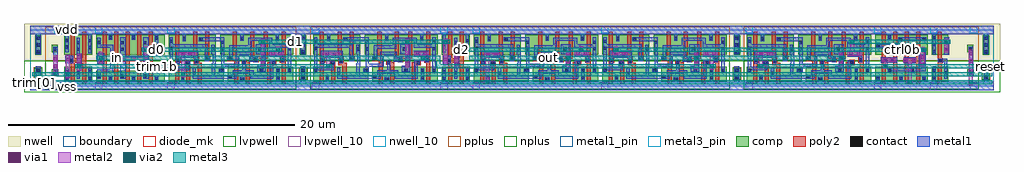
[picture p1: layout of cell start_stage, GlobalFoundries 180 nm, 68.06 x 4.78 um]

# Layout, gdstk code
from math import pi, radians
import gdstk
lib = gdstk.Library(unit=1e-6, precision=1e-09)
def R(c, l, rs):  # rectangles x0, y0, x1, y1
    for r in rs: c.add(gdstk.rectangle(r[:2], r[2:], *l))
def A(c, l, x, y, w, h, nx, ny, dx, dy):  # array of equal rectangles
    R(c, l, [(x+i*dx, y+j*dy, x+i*dx+w, y+j*dy+h) for i in range(nx) for j in range(ny)])
boundary = (0, 0)
nwell = (21, 0)
nwell_10 = (21, 10)
comp = (22, 0)
poly2 = (30, 0)
pplus = (31, 0)
nplus = (32, 0)
contact = (33, 0)
metal1 = (34, 0)
metal1_pin = (34, 10)
via1 = (35, 0)
metal2 = (36, 0)
via2 = (38, 0)
metal3 = (42, 0)
metal3_pin = (42, 10)
diode_mk = (115, 5)
lvpwell = (204, 0)
lvpwell_10 = (204, 10)

gf180mcu_as_sc_mcu7t3v3_ = lib.new_cell('gf180mcu_as_sc_mcu7t3v3__clkbuff_4')
R(gf180mcu_as_sc_mcu7t3v3_, boundary, [(0,0,5.04,3.92)])
R(gf180mcu_as_sc_mcu7t3v3_, nwell, [(-0.43,1.77,5.47,4.35)])
R(gf180mcu_as_sc_mcu7t3v3_, nwell_10, [(0.05,3.67,0.55,4.17)])
R(gf180mcu_as_sc_mcu7t3v3_, comp, [(0.14,0.34,4.9,1.06), (0.14,2.2,4.9,3.58)])
A(gf180mcu_as_sc_mcu7t3v3_, poly2, 2.18, 2.005, 0.28, 1.795, 3, 1, 0.8, 0)
R(gf180mcu_as_sc_mcu7t3v3_, poly2, [(0.58,0.12,0.86,1.57), (1.38,0.12,1.66,1.575), (2.18,0.12,2.46,1.69), (2.98,0.12,3.26,1.735), (3.78,0.12,4.06,1.735), (0.37,1.57,0.86,2.025), (1.1,1.575,1.66,1.69), (1.1,1.69,2.46,1.735), (1.1,1.735,4.06,1.97), (1.1,1.97,1.66,2.03), (2.18,1.97,4.06,2.005), (0.58,2.025,0.86,3.8), (1.38,2.03,1.66,3.8)])
R(gf180mcu_as_sc_mcu7t3v3_, pplus, [(-0.08,1.77,5.12,4.15), (0.35,1.97,4.29,2.04), (-0.02,2.04,5.06,3.74), (0.35,3.74,4.29,3.81)])
R(gf180mcu_as_sc_mcu7t3v3_, nplus, [(-0.08,-0.23,5.12,1.77), (-0.08,-0.23,5.12,1.77)])
A(gf180mcu_as_sc_mcu7t3v3_, contact, 1.01, 0.41, 0.22, 0.22, 3, 1, 1.6, 0)
A(gf180mcu_as_sc_mcu7t3v3_, contact, 0.21, 0.59, 0.22, 0.22, 3, 1, 1.6, 0)
A(gf180mcu_as_sc_mcu7t3v3_, contact, 4.21, 2.31, 0.22, 0.22, 1, 3, 0, 0.47)
R(gf180mcu_as_sc_mcu7t3v3_, contact, [(0.45,1.685,0.67,1.905), (1.17,1.7,1.39,1.92), (1.81,2.455,2.03,2.675), (3.41,2.455,3.63,2.675), (1.81,2.925,2.03,3.145), (3.41,2.925,3.63,3.145), (0.21,2.96,0.43,3.18), (1.01,3.29,1.23,3.51), (2.61,3.29,2.83,3.51)])
R(gf180mcu_as_sc_mcu7t3v3_, metal1, [(0,-0.3,5.04,0.3), (1.005,0.3,1.235,0.69), (2.605,0.3,2.835,0.69), (4.205,0.3,4.435,0.73), (0.205,0.53,0.435,0.945), (1.805,0.53,2.2,1.755), (3.405,0.53,3.8,1.755), (0.205,0.945,1.33,1.175), (1.1,1.175,1.33,1.575), (0.205,1.57,0.675,2.285), (1.1,1.575,1.395,2.03), (1.805,1.755,3.8,2.04), (1.1,2.03,1.33,2.665), (1.805,2.04,2.2,3.39), (3.405,2.04,3.8,3.39), (4.205,2.14,4.435,3.62), (0.205,2.665,1.33,2.895), (0.205,2.895,0.435,3.38), (1.005,3.23,1.235,3.62), (2.605,3.23,2.835,3.62), (0,3.62,5.04,4.22)])
R(gf180mcu_as_sc_mcu7t3v3_, metal1_pin, [(0,-0.3,5.04,0.3), (1.805,0.53,2.2,3.39), (3.405,0.53,3.8,3.39), (0.205,1.57,0.675,2.285), (0,3.62,5.04,4.22)])
R(gf180mcu_as_sc_mcu7t3v3_, lvpwell, [(-0.43,-0.43,5.47,1.77)])
R(gf180mcu_as_sc_mcu7t3v3_, lvpwell_10, [(0.05,-0.25,0.55,0.25)])
gf180mcu_as_sc_mcu7t3v3_.add(gdstk.Label('VDD', (2.52,3.92), layer=34, texttype=10))
gf180mcu_as_sc_mcu7t3v3_.add(gdstk.Label('VNW', (0.3,3.92), layer=21, texttype=10))
gf180mcu_as_sc_mcu7t3v3_.add(gdstk.Label('VPW', (0.3,0), layer=204, texttype=10))
gf180mcu_as_sc_mcu7t3v3_.add(gdstk.Label('VSS', (2.52,0), layer=34, texttype=10))
gf180mcu_as_sc_mcu7t3v3_.add(gdstk.Label('A', (0.44,1.927), layer=34, texttype=10))
gf180mcu_as_sc_mcu7t3v3_.add(gdstk.Label('Y', (2.002,1.96), layer=34, texttype=10))
gf180mcu_as_sc_mcu7t3v3_.add(gdstk.Label('Y', (3.602,1.96), layer=34, texttype=10))

c_gf180mcu_as_sc_mcu7t3v3_ = lib.new_cell('gf180mcu_as_sc_mcu7t3v3__invz_2')
R(c_gf180mcu_as_sc_mcu7t3v3_, boundary, [(0,0,8.96,3.92)])
R(c_gf180mcu_as_sc_mcu7t3v3_, nwell, [(-0.43,1.77,9.39,4.35)])
R(c_gf180mcu_as_sc_mcu7t3v3_, nwell_10, [(0.05,3.67,0.55,4.17)])
R(c_gf180mcu_as_sc_mcu7t3v3_, comp, [(0.14,0.34,3.98,1.34), (4.26,0.34,8.82,1.34), (0.14,2.2,3.42,3.58), (3.725,2.2,8.82,3.58)])
R(c_gf180mcu_as_sc_mcu7t3v3_, poly2, [(0.58,0.12,0.86,1.62), (1.38,0.12,1.66,1.45), (2.18,0.12,2.46,1.44), (4.7,0.12,4.98,1.74), (5.52,0.12,5.8,1.495), (7.02,0.12,7.3,1.47), (8.02,0.12,8.3,1.64), (1.9,1.44,2.46,1.62), (1.28,1.45,1.66,1.655), (7.02,1.47,7.645,1.675), (5.22,1.495,5.8,1.675), (0.58,1.62,0.965,1.98), (1.9,1.62,2.26,1.92), (7.895,1.64,8.3,2), (6.04,1.65,6.405,1.92), (1.28,1.655,1.64,1.81), (5.22,1.675,5.585,1.855), (7.28,1.675,7.645,1.83), (2.67,1.74,3.03,2.1), (4.24,1.74,4.98,2.1), (1.86,1.92,2.26,2.1), (5.82,1.92,7.05,2.1), (0.58,1.98,0.86,3.8), (8.02,2,8.3,3.8), (1.86,2.1,2.14,3.8), (2.7,2.1,2.98,3.8), (4.62,2.1,4.9,3.8), (5.82,2.1,6.1,3.8), (6.77,2.1,7.05,3.8)])
R(c_gf180mcu_as_sc_mcu7t3v3_, pplus, [(-0.08,1.77,9.04,4.15), (0.35,1.97,1.09,2.04), (1.63,1.97,3.21,2.04), (4.39,1.97,5.13,2.04), (5.59,1.97,7.28,2.04), (7.79,1.97,8.53,2.04), (-0.02,2.04,8.98,3.74), (0.35,3.74,1.09,3.81), (1.63,3.74,3.21,3.81), (4.39,3.74,5.13,3.81), (5.59,3.74,7.28,3.81), (7.79,3.74,8.53,3.81)])
R(c_gf180mcu_as_sc_mcu7t3v3_, nplus, [(-0.08,-0.23,9.04,1.77), (-0.08,-0.23,9.04,1.77)])
R(c_gf180mcu_as_sc_mcu7t3v3_, contact, [(5.15,0.41,5.37,0.63), (1.01,0.47,1.23,0.69), (7.65,0.485,7.87,0.705), (4.33,0.535,4.55,0.755), (1.81,0.795,2.03,1.015), (7.65,0.955,7.87,1.175), (3.69,1,3.91,1.22), (6.5,1,6.72,1.22), (0.21,1.005,0.43,1.225), (8.45,1.005,8.67,1.225), (1.35,1.52,1.57,1.74), (7.35,1.54,7.57,1.76), (5.29,1.565,5.51,1.785), (1.97,1.66,2.19,1.88), (0.675,1.69,0.895,1.91), (7.965,1.71,8.185,1.93), (6.11,1.72,6.33,1.94), (2.74,1.81,2.96,2.03), (4.31,1.81,4.53,2.03), (3.13,2.475,3.35,2.695), (3.795,2.475,4.015,2.695), (6.39,2.475,6.61,2.695), (8.45,2.49,8.67,2.71), (0.21,2.54,0.43,2.76), (3.795,2.945,4.015,3.165), (8.45,2.96,8.67,3.18), (0.21,3.01,0.43,3.23), (2.29,3.15,2.51,3.37), (1.11,3.205,1.33,3.425), (5.15,3.22,5.37,3.44), (7.6,3.22,7.82,3.44)])
R(c_gf180mcu_as_sc_mcu7t3v3_, metal1, [(0,-0.3,8.96,0.3), (1.005,0.3,1.235,0.75), (5.09,0.3,5.43,0.635), (7.645,0.3,7.875,1.25), (1.805,0.53,4.855,0.76), (5.83,0.53,7.415,0.76), (1.805,0.76,2.035,1.29), (3.155,0.76,3.385,1.36), (4.615,0.76,4.855,0.865), (5.83,0.76,6.06,0.865), (7.185,0.76,7.415,1.48), (4.615,0.865,6.06,1.105), (0.205,0.945,0.435,1.1), (8.445,0.945,8.675,2.685), (3.62,0.99,4.02,1.235), (6.305,0.99,6.905,1.43), (0.205,1.1,1.575,1.335), (5.285,1.105,5.515,1.845), (3.79,1.235,4.02,1.335), (0.205,1.335,0.435,2.685), (1.29,1.335,1.575,1.515), (3.79,1.335,5.055,1.565), (3.155,1.36,3.425,1.59), (6.565,1.43,6.905,2.23), (7.185,1.48,7.575,1.82), (1.29,1.515,1.63,1.745), (3.79,1.565,4.02,3.145), (4.825,1.565,5.055,2.15), (0.67,1.57,0.9,1.975), (3.195,1.59,3.425,2.265), (1.965,1.6,2.195,1.975), (7.96,1.65,8.19,2.05), (6.105,1.66,6.335,1.71), (5.745,1.71,6.335,2), (2.65,1.75,2.965,2.09), (4.25,1.805,4.59,2.035), (0.67,1.975,2.195,2.45), (5.745,2,5.975,2.15), (4.36,2.035,4.59,2.61), (7.135,2.05,8.19,2.45), (2.65,2.09,2.88,2.685), (4.825,2.15,5.975,2.38), (6.205,2.23,6.905,2.91), (3.125,2.265,3.425,2.51), (3.125,2.51,3.355,2.9), (4.36,2.61,5.915,2.84), (0.205,2.685,2.88,2.915), (7.135,2.685,8.675,2.915), (5.685,2.84,5.915,3.15), (0.205,2.915,0.435,3.39), (7.135,2.915,7.365,3.15), (8.445,2.915,8.675,3.39), (1.105,3.145,1.335,3.62), (2.23,3.145,4.02,3.39), (5.685,3.15,7.365,3.38), (5.145,3.16,5.375,3.62), (7.595,3.16,7.825,3.62), (0,3.62,8.96,4.22)])
R(c_gf180mcu_as_sc_mcu7t3v3_, metal1_pin, [(0,-0.3,8.96,0.3), (6.565,0.99,6.905,2.91), (0.67,1.975,2.195,2.45), (7.135,2.05,8.19,2.45), (0,3.62,8.96,4.22)])
R(c_gf180mcu_as_sc_mcu7t3v3_, lvpwell, [(-0.43,-0.43,9.39,1.77)])
R(c_gf180mcu_as_sc_mcu7t3v3_, lvpwell_10, [(0.05,-0.25,0.55,0.25)])
c_gf180mcu_as_sc_mcu7t3v3_.add(gdstk.Label('VDD', (4.48,3.92), layer=34, texttype=10))
c_gf180mcu_as_sc_mcu7t3v3_.add(gdstk.Label('VNW', (0.3,3.92), layer=21, texttype=10))
c_gf180mcu_as_sc_mcu7t3v3_.add(gdstk.Label('VPW', (0.3,0), layer=204, texttype=10))
c_gf180mcu_as_sc_mcu7t3v3_.add(gdstk.Label('VSS', (4.48,0), layer=34, texttype=10))
c_gf180mcu_as_sc_mcu7t3v3_.add(gdstk.Label('EN', (1.432,2.212), layer=34, texttype=10))
c_gf180mcu_as_sc_mcu7t3v3_.add(gdstk.Label('A', (7.662,2.25), layer=34, texttype=10))
c_gf180mcu_as_sc_mcu7t3v3_.add(gdstk.Label('Y', (6.735,1.95), layer=34, texttype=10))

c_gf180mcu_as_sc_mcu7t3v3__ = lib.new_cell('gf180mcu_as_sc_mcu7t3v3__diode_2')
R(c_gf180mcu_as_sc_mcu7t3v3__, boundary, [(0,0,1.12,3.92)])
R(c_gf180mcu_as_sc_mcu7t3v3__, nwell, [(-0.43,1.77,1.55,4.35)])
R(c_gf180mcu_as_sc_mcu7t3v3__, nwell_10, [(0.05,3.67,0.55,4.17)])
R(c_gf180mcu_as_sc_mcu7t3v3__, comp, [(0.28,0.685,0.72,1.16), (0.3,2.36,0.725,2.9)])
R(c_gf180mcu_as_sc_mcu7t3v3__, pplus, [(-0.08,1.77,1.2,4.15), (0.14,2.2,0.885,3.06)])
R(c_gf180mcu_as_sc_mcu7t3v3__, nplus, [(-0.08,-0.23,1.2,1.77), (-0.08,-0.23,1.2,1.77)])
R(c_gf180mcu_as_sc_mcu7t3v3__, contact, [(0.405,0.87,0.625,1.09), (0.405,2.455,0.625,2.675)])
R(c_gf180mcu_as_sc_mcu7t3v3__, metal1, [(0,-0.3,1.12,0.3), (0.33,0.805,0.63,2.75), (0,3.62,1.12,4.22)])
R(c_gf180mcu_as_sc_mcu7t3v3__, metal1_pin, [(0,-0.3,1.12,0.3), (0.33,0.805,0.63,2.75), (0,3.62,1.12,4.22)])
R(c_gf180mcu_as_sc_mcu7t3v3__, diode_mk, [(0.28,0.685,0.72,1.16), (0.3,2.36,0.725,2.9)])
R(c_gf180mcu_as_sc_mcu7t3v3__, lvpwell, [(-0.43,-0.43,1.55,1.77)])
R(c_gf180mcu_as_sc_mcu7t3v3__, lvpwell_10, [(0.05,-0.25,0.55,0.25)])
c_gf180mcu_as_sc_mcu7t3v3__.add(gdstk.Label('VDD', (0.56,3.92), layer=34, texttype=10))
c_gf180mcu_as_sc_mcu7t3v3__.add(gdstk.Label('VNW', (0.3,3.92), layer=21, texttype=10))
c_gf180mcu_as_sc_mcu7t3v3__.add(gdstk.Label('VPW', (0.3,0), layer=204, texttype=10))
c_gf180mcu_as_sc_mcu7t3v3__.add(gdstk.Label('VSS', (0.56,0), layer=34, texttype=10))
c_gf180mcu_as_sc_mcu7t3v3__.add(gdstk.Label('DIODE', (0.48,1.777), layer=34, texttype=10))

c_gf180mcu_as_sc_mcu7t3v3___ = lib.new_cell('gf180mcu_as_sc_mcu7t3v3__tap_2')
R(c_gf180mcu_as_sc_mcu7t3v3___, boundary, [(0,0,1.12,3.92)])
R(c_gf180mcu_as_sc_mcu7t3v3___, nwell, [(-0.43,1.77,1.55,4.35)])
R(c_gf180mcu_as_sc_mcu7t3v3___, comp, [(0.28,0.46,0.84,1.29), (0.36,2.22,0.76,3.52)])
R(c_gf180mcu_as_sc_mcu7t3v3___, pplus, [(0.335,0.43,0.755,0.44), (0.26,0.44,0.86,1.31), (0.335,1.31,0.755,1.32)])
R(c_gf180mcu_as_sc_mcu7t3v3___, nplus, [(0.335,2.19,0.755,2.2), (0.335,2.2,0.78,3.54), (0.335,3.54,0.755,3.55)])
A(c_gf180mcu_as_sc_mcu7t3v3___, contact, 0.435, 2.29, 0.22, 0.22, 1, 3, 0, 0.47)
R(c_gf180mcu_as_sc_mcu7t3v3___, contact, [(0.435,0.53,0.655,0.75), (0.435,1,0.655,1.22)])
R(c_gf180mcu_as_sc_mcu7t3v3___, metal1, [(0,-0.3,1.12,0.3), (0.375,0.3,0.715,1.38), (0.375,2.235,0.715,3.62), (0,3.62,1.12,4.22)])
R(c_gf180mcu_as_sc_mcu7t3v3___, metal1_pin, [(0,-0.3,1.12,0.3), (0,3.62,1.12,4.22)])
R(c_gf180mcu_as_sc_mcu7t3v3___, lvpwell, [(-0.43,-0.43,1.55,1.77)])
c_gf180mcu_as_sc_mcu7t3v3___.add(gdstk.Label('VDD', (0.56,3.92), layer=34, texttype=10))
c_gf180mcu_as_sc_mcu7t3v3___.add(gdstk.Label('VSS', (0.56,0), layer=34, texttype=10))

c_gf180mcu_as_sc_mcu7t3v3____ = lib.new_cell('gf180mcu_as_sc_mcu7t3v3__inv_2')
R(c_gf180mcu_as_sc_mcu7t3v3____, boundary, [(0,0,2.24,3.92)])
R(c_gf180mcu_as_sc_mcu7t3v3____, nwell, [(-0.43,1.77,2.67,4.35)])
R(c_gf180mcu_as_sc_mcu7t3v3____, nwell_10, [(0.05,3.67,0.55,4.17)])
R(c_gf180mcu_as_sc_mcu7t3v3____, comp, [(0.14,0.34,2.1,1.34), (0.14,2.2,2.1,3.58)])
R(c_gf180mcu_as_sc_mcu7t3v3____, poly2, [(0.58,0.12,0.86,1.625), (1.38,0.12,1.66,1.625), (0.48,1.625,1.66,1.935), (0.48,1.935,0.86,1.99), (1.38,1.935,1.66,3.8), (0.58,1.99,0.86,3.8)])
R(c_gf180mcu_as_sc_mcu7t3v3____, pplus, [(-0.08,1.77,2.32,4.15), (0.35,1.97,1.89,2.04), (-0.02,2.04,2.26,3.74), (0.35,3.74,1.89,3.81)])
R(c_gf180mcu_as_sc_mcu7t3v3____, nplus, [(-0.08,-0.23,2.32,1.77), (-0.08,-0.23,2.32,1.77)])
R(c_gf180mcu_as_sc_mcu7t3v3____, contact, [(0.21,0.415,0.43,0.635), (1.81,0.445,2.03,0.665), (1.01,0.82,1.23,1.04), (0.21,0.885,0.43,1.105), (1.81,0.915,2.03,1.135), (0.55,1.695,0.77,1.915), (1.01,2.45,1.23,2.67), (1.81,2.585,2.03,2.805), (0.21,2.615,0.43,2.835), (1.01,2.92,1.23,3.14), (1.81,3.055,2.03,3.275), (0.21,3.085,0.43,3.305)])
R(c_gf180mcu_as_sc_mcu7t3v3____, metal1, [(0,-0.3,2.24,0.3), (0.205,0.3,0.435,1.235), (1.805,0.3,2.035,1.235), (1.005,0.53,1.235,1.26), (1.005,1.26,1.35,2.255), (0.205,1.59,0.775,2.125), (1.005,2.255,1.235,3.385), (1.805,2.295,2.035,3.62), (0.205,2.355,0.435,3.62), (0,3.62,2.24,4.22)])
R(c_gf180mcu_as_sc_mcu7t3v3____, metal1_pin, [(0,-0.3,2.24,0.3), (1.005,1.26,1.35,2.255), (0.205,1.59,0.775,2.125), (0,3.62,2.24,4.22)])
R(c_gf180mcu_as_sc_mcu7t3v3____, lvpwell, [(-0.43,-0.43,2.67,1.77)])
R(c_gf180mcu_as_sc_mcu7t3v3____, lvpwell_10, [(0.05,-0.25,0.55,0.25)])
c_gf180mcu_as_sc_mcu7t3v3____.add(gdstk.Label('VDD', (1.12,3.92), layer=34, texttype=10))
c_gf180mcu_as_sc_mcu7t3v3____.add(gdstk.Label('VNW', (0.3,3.92), layer=21, texttype=10))
c_gf180mcu_as_sc_mcu7t3v3____.add(gdstk.Label('VPW', (0.3,0), layer=204, texttype=10))
c_gf180mcu_as_sc_mcu7t3v3____.add(gdstk.Label('VSS', (1.12,0), layer=34, texttype=10))
c_gf180mcu_as_sc_mcu7t3v3____.add(gdstk.Label('Y', (1.177,1.757), layer=34, texttype=10))
c_gf180mcu_as_sc_mcu7t3v3____.add(gdstk.Label('A', (0.49,1.857), layer=34, texttype=10))

c_gf180mcu_as_sc_mcu7t3v3_____ = lib.new_cell('gf180mcu_as_sc_mcu7t3v3__nor2_2')
R(c_gf180mcu_as_sc_mcu7t3v3_____, boundary, [(0,0,3.92,3.92)])
R(c_gf180mcu_as_sc_mcu7t3v3_____, nwell, [(-0.43,1.77,4.35,4.35)])
R(c_gf180mcu_as_sc_mcu7t3v3_____, nwell_10, [(0.05,3.67,0.55,4.17)])
R(c_gf180mcu_as_sc_mcu7t3v3_____, comp, [(0.14,0.34,3.775,1.34), (0.14,2.2,3.78,3.58)])
R(c_gf180mcu_as_sc_mcu7t3v3_____, poly2, [(0.58,0.12,0.86,1.615), (1.38,0.12,1.66,1.615), (2.18,0.12,2.46,1.61), (2.98,0.12,3.26,1.61), (2.13,1.61,3.26,2.015), (0.5,1.615,1.66,2.02), (2.18,2.015,2.46,3.8), (2.98,2.015,3.26,3.8), (0.58,2.02,0.86,3.8), (1.38,2.02,1.66,3.8)])
R(c_gf180mcu_as_sc_mcu7t3v3_____, pplus, [(-0.08,1.77,4,4.15), (0.35,1.97,3.49,2.04), (-0.02,2.04,3.94,3.74), (0.35,3.74,3.49,3.81)])
R(c_gf180mcu_as_sc_mcu7t3v3_____, nplus, [(-0.08,-0.23,4,1.77), (-0.08,-0.23,4,1.77)])
A(c_gf180mcu_as_sc_mcu7t3v3_____, contact, 0.21, 0.41, 0.22, 0.22, 3, 1, 1.6, 0)
R(c_gf180mcu_as_sc_mcu7t3v3_____, contact, [(1.01,0.995,1.23,1.215), (2.61,1.05,2.83,1.27), (2.22,1.71,2.44,1.93), (2.69,1.71,2.91,1.93), (0.735,1.715,0.955,1.935), (1.205,1.715,1.425,1.935), (2.61,2.29,2.83,2.51), (0.21,2.76,0.43,2.98), (1.81,3.165,2.03,3.385), (3.41,3.165,3.63,3.385), (1.01,3.29,1.23,3.51)])
A(c_gf180mcu_as_sc_mcu7t3v3_____, metal1, 0.205, 0.3, 0.23, 0.39, 3, 1, 1.6, 0)
R(c_gf180mcu_as_sc_mcu7t3v3_____, metal1, [(0,-0.3,3.92,0.3), (1.005,0.935,1.235,1.045), (2.605,0.99,2.835,1.045), (1.005,1.045,2.835,1.05), (1.005,1.05,3.635,1.275), (2.605,1.275,3.635,1.32), (2.605,1.32,2.835,1.33), (3.165,1.32,3.635,2.285), (2.13,1.61,2.935,2.015), (0.5,1.615,1.66,2.02), (2.545,2.285,3.635,2.555), (0.205,2.695,1.98,2.925), (0.205,2.925,0.435,3.04), (1.75,2.925,1.98,3.16), (1.75,3.16,3.69,3.39), (1.005,3.23,1.235,3.62), (0,3.62,3.92,4.22)])
R(c_gf180mcu_as_sc_mcu7t3v3_____, metal1_pin, [(0,-0.3,3.92,0.3), (3.165,1.05,3.635,2.555), (2.13,1.61,2.935,2.015), (0.5,1.615,1.66,2.02), (0,3.62,3.92,4.22)])
R(c_gf180mcu_as_sc_mcu7t3v3_____, lvpwell, [(-0.43,-0.43,4.35,1.77)])
R(c_gf180mcu_as_sc_mcu7t3v3_____, lvpwell_10, [(0.05,-0.25,0.55,0.25)])
c_gf180mcu_as_sc_mcu7t3v3_____.add(gdstk.Label('VDD', (1.96,3.92), layer=34, texttype=10))
c_gf180mcu_as_sc_mcu7t3v3_____.add(gdstk.Label('VNW', (0.3,3.92), layer=21, texttype=10))
c_gf180mcu_as_sc_mcu7t3v3_____.add(gdstk.Label('VPW', (0.3,0), layer=204, texttype=10))
c_gf180mcu_as_sc_mcu7t3v3_____.add(gdstk.Label('VSS', (1.96,0), layer=34, texttype=10))
c_gf180mcu_as_sc_mcu7t3v3_____.add(gdstk.Label('Y', (3.4,1.802), layer=34, texttype=10))
c_gf180mcu_as_sc_mcu7t3v3_____.add(gdstk.Label('B', (2.532,1.812), layer=34, texttype=10))
c_gf180mcu_as_sc_mcu7t3v3_____.add(gdstk.Label('A', (1.08,1.817), layer=34, texttype=10))

c_gf180mcu_as_sc_mcu7t3v3______ = lib.new_cell('gf180mcu_as_sc_mcu7t3v3__tieh_4')
R(c_gf180mcu_as_sc_mcu7t3v3______, boundary, [(0,0,2.24,3.92)])
R(c_gf180mcu_as_sc_mcu7t3v3______, nwell, [(-0.43,1.77,2.67,4.35)])
R(c_gf180mcu_as_sc_mcu7t3v3______, nwell_10, [(0.05,3.67,0.55,4.17)])
R(c_gf180mcu_as_sc_mcu7t3v3______, comp, [(0.14,0.34,1.3,1.34), (0.14,2.2,1.3,3.58)])
R(c_gf180mcu_as_sc_mcu7t3v3______, poly2, [(0.58,0.12,0.86,1.595), (0.56,1.595,0.93,1.955), (0.58,1.955,0.86,3.8)])
R(c_gf180mcu_as_sc_mcu7t3v3______, pplus, [(-0.08,1.77,2.32,4.15), (0.35,1.97,1.09,2.04), (-0.02,2.04,1.46,3.74), (0.35,3.74,1.09,3.81)])
R(c_gf180mcu_as_sc_mcu7t3v3______, nplus, [(-0.08,-0.23,2.32,1.77), (-0.08,-0.23,2.32,1.77)])
A(c_gf180mcu_as_sc_mcu7t3v3______, contact, 0.21, 2.315, 0.22, 0.22, 1, 3, 0, 0.47)
R(c_gf180mcu_as_sc_mcu7t3v3______, contact, [(0.21,0.495,0.43,0.715), (1.01,0.82,1.23,1.04), (0.21,0.965,0.43,1.185), (0.64,1.665,0.86,1.885), (1.01,2.455,1.23,2.675), (1.01,2.925,1.23,3.145)])
R(c_gf180mcu_as_sc_mcu7t3v3______, metal1, [(0,-0.3,2.24,0.3), (0.205,0.3,0.435,1.375), (1.005,0.53,1.235,1.66), (0.57,1.66,1.235,1.895), (1.005,2.19,1.365,3.39), (0.205,2.22,0.435,3.62), (0,3.62,2.24,4.22)])
R(c_gf180mcu_as_sc_mcu7t3v3______, metal1_pin, [(0,-0.3,2.24,0.3), (1.005,2.19,1.365,3.39), (0,3.62,2.24,4.22)])
R(c_gf180mcu_as_sc_mcu7t3v3______, lvpwell, [(-0.43,-0.43,2.67,1.77)])
R(c_gf180mcu_as_sc_mcu7t3v3______, lvpwell_10, [(0.05,-0.25,0.55,0.25)])
c_gf180mcu_as_sc_mcu7t3v3______.add(gdstk.Label('VDD', (1.12,3.92), layer=34, texttype=10))
c_gf180mcu_as_sc_mcu7t3v3______.add(gdstk.Label('VNW', (0.3,3.92), layer=21, texttype=10))
c_gf180mcu_as_sc_mcu7t3v3______.add(gdstk.Label('VPW', (0.3,0), layer=204, texttype=10))
c_gf180mcu_as_sc_mcu7t3v3______.add(gdstk.Label('VSS', (1.12,0), layer=34, texttype=10))
c_gf180mcu_as_sc_mcu7t3v3______.add(gdstk.Label('ONE', (1.185,2.79), layer=34, texttype=10))

start_stage = lib.new_cell('start_stage')
R(start_stage, pplus, [(-0.24,2.25,-0.12,3.11)])
R(start_stage, metal1, [(-1.22,-0.25,1.69,0.35), (5.615,1.125,5.875,1.965), (-0.71,1.27,-0.45,2.11), (27.265,1.39,27.525,2.23), (59.76,1.39,60.02,2.23), (0.945,1.405,1.205,2.245), (23.825,1.445,24.085,2.285), (54.065,1.45,54.325,2.29), (35.025,1.46,35.285,2.3), (43.985,1.475,44.245,2.315), (13.745,1.49,14.005,2.33), (2.455,1.62,2.715,2.335), (63.13,1.635,63.39,2.475), (0.165,1.64,0.425,2.175), (26.485,1.64,26.745,2.175), (57.135,1.735,57.94,1.995), (58.59,1.735,59.395,1.995), (29.4,2.115,30.32,2.375), (38.33,2.12,39.25,2.38), (8.06,2.125,9.085,2.385), (48.43,2.13,49.35,2.39), (18.115,2.145,19.14,2.405), (14.385,2.17,15.305,2.43), (24.465,2.17,25.385,2.43), (35.665,2.17,36.585,2.43), (54.7,2.17,55.62,2.43), (44.625,2.175,45.545,2.435), (61.425,2.445,61.685,3.285), (-1.22,3.67,1.69,4.27)])
R(start_stage, metal1_pin, [(-1.22,-0.25,1.69,0.35), (-1.22,3.67,1.69,4.27)])
R(start_stage, via1, [(5.615,1.155,5.875,1.415), (-0.71,1.3,-0.45,1.56), (27.265,1.42,27.525,1.68), (59.76,1.42,60.02,1.68), (0.945,1.435,1.205,1.695), (23.825,1.475,24.085,1.735), (54.065,1.48,54.325,1.74), (35.025,1.49,35.285,1.75), (43.985,1.505,44.245,1.765), (13.745,1.52,14.005,1.78), (63.13,1.665,63.39,1.925), (5.615,1.675,5.875,1.935), (57.145,1.735,57.405,1.995), (57.665,1.735,57.925,1.995), (58.6,1.735,58.86,1.995), (59.12,1.735,59.38,1.995), (0.165,1.775,0.425,2.035), (26.485,1.775,26.745,2.035), (-0.71,1.82,-0.45,2.08), (2.455,1.845,2.715,2.105), (27.265,1.94,27.525,2.2), (59.76,1.94,60.02,2.2), (0.945,1.955,1.205,2.215), (23.825,1.995,24.085,2.255), (54.065,2,54.325,2.26), (35.025,2.01,35.285,2.27), (43.985,2.025,44.245,2.285), (13.745,2.04,14.005,2.3), (29.47,2.115,29.73,2.375), (29.99,2.115,30.25,2.375), (38.4,2.12,38.66,2.38), (38.92,2.12,39.18,2.38), (8.18,2.125,8.44,2.385), (8.7,2.125,8.96,2.385), (48.5,2.13,48.76,2.39), (49.02,2.13,49.28,2.39), (18.235,2.145,18.495,2.405), (18.755,2.145,19.015,2.405), (14.455,2.17,14.715,2.43), (14.975,2.17,15.235,2.43), (24.535,2.17,24.795,2.43), (25.055,2.17,25.315,2.43), (35.735,2.17,35.995,2.43), (36.255,2.17,36.515,2.43), (54.77,2.17,55.03,2.43), (55.29,2.17,55.55,2.43), (44.695,2.175,44.955,2.435), (45.215,2.175,45.475,2.435), (63.13,2.185,63.39,2.445), (61.425,2.475,61.685,2.735), (61.425,2.995,61.685,3.255)])
R(start_stage, metal2, [(63.12,0.115,63.4,2.58), (29.345,0.19,29.77,0.47), (58.785,0.19,59.195,0.47), (29.41,0.47,29.69,2.1), (58.85,0.47,59.13,1.725), (0.155,0.605,0.435,2.25), (8.185,0.68,8.465,2.115), (-0.81,0.75,-0.335,1.03), (-0.725,1.03,-0.43,2.205), (5.595,1.04,5.895,2.8), (0.925,1.125,1.22,2.32), (45.055,1.2,45.335,2.16), (43.975,1.23,44.255,2.385), (18.295,1.25,18.575,2.13), (48.47,1.255,48.75,2.115), (57.165,1.255,57.445,1.72), (27.25,1.31,27.54,2.825), (59.745,1.31,60.03,2.765), (35.01,1.37,35.3,2.365), (23.815,1.375,24.095,3.335), (54.05,1.38,54.34,2.36), (13.735,1.425,14.015,3.35), (26.465,1.52,26.765,3.335), (2.44,1.54,2.73,2.435), (57.055,1.72,58.025,2.015), (58.53,1.725,59.46,2.005), (24.9,1.785,25.185,2.16), (29.315,2.1,30.405,2.39), (38.265,2.11,39.325,2.395), (7.97,2.115,9.175,2.4), (48.32,2.115,49.445,2.405), (18.015,2.13,19.235,2.42), (14.79,2.15,15.09,2.155), (14.305,2.155,15.385,2.45), (54.64,2.155,55.685,2.445), (24.405,2.16,25.45,2.445), (35.595,2.16,36.655,2.445), (44.565,2.16,45.615,2.45), (61.41,2.385,61.7,3.345), (38.405,2.395,38.685,2.785), (35.955,2.445,36.235,2.82), (54.85,2.445,55.13,3.33), (14.79,2.45,15.09,2.795)])
R(start_stage, via2, [(29.42,0.2,29.68,0.46), (58.86,0.2,59.12,0.46), (63.13,0.2,63.39,0.46), (-0.71,0.76,-0.45,1.02), (0.165,0.76,0.425,1.02), (8.195,0.76,8.455,1.02), (0.94,1.32,1.2,1.58), (18.305,1.32,18.565,1.58), (45.065,1.32,45.325,1.58), (48.48,1.32,48.74,1.58), (57.175,1.32,57.435,1.58), (2.455,1.88,2.715,2.14), (24.91,1.88,25.17,2.14), (35.025,1.88,35.285,2.14), (43.985,1.88,44.245,2.14), (54.065,1.88,54.325,2.14), (5.615,2.44,5.875,2.7), (14.81,2.44,15.07,2.7), (27.265,2.44,27.525,2.7), (35.965,2.44,36.225,2.7), (38.415,2.44,38.675,2.7), (59.755,2.44,60.015,2.7), (13.745,3,14.005,3.26), (23.825,3,24.085,3.26), (26.485,3,26.745,3.26), (54.86,3,55.12,3.26), (61.425,3,61.685,3.26)])
R(start_stage, metal3, [(-2.21,0.19,64.745,0.47), (-2.21,0.75,64.755,1.03), (0.8,1.31,18.715,1.59), (25.975,1.31,45.465,1.59), (48.385,1.31,64.765,1.59), (25.975,1.59,26.255,1.87), (2.28,1.87,26.255,2.15), (28.28,1.87,54.505,2.15), (5.455,2.43,15.215,2.71), (27.09,2.43,36.74,2.71), (38.335,2.43,60.16,2.71), (13.59,2.99,26.955,3.27), (54.74,2.99,61.81,3.27)])
R(start_stage, metal3_pin, [(-2.21,0.19,-1.935,0.47), (-2.21,0.75,-1.935,1.03), (64.455,1.31,64.765,1.59), (3.62,1.87,3.91,2.15), (33.665,1.87,33.955,2.15)])
start_stage.add(gdstk.Reference(gf180mcu_as_sc_mcu7t3v3_, (2.14,0.05)))
start_stage.add(gdstk.Reference(c_gf180mcu_as_sc_mcu7t3v3_, (7.18,0.05)))
start_stage.add(gdstk.Reference(c_gf180mcu_as_sc_mcu7t3v3__, (-0.1,0.05), rotation=pi, x_reflection=True))
start_stage.add(gdstk.Reference(c_gf180mcu_as_sc_mcu7t3v3___, (-1.22,0.05), rotation=pi, x_reflection=True))
start_stage.add(gdstk.Reference(c_gf180mcu_as_sc_mcu7t3v3____, (-0.1,0.05)))
start_stage.add(gdstk.Reference(c_gf180mcu_as_sc_mcu7t3v3_, (17.26,0.05)))
start_stage.add(gdstk.Reference(c_gf180mcu_as_sc_mcu7t3v3___, (16.14,0.05)))
start_stage.add(gdstk.Reference(c_gf180mcu_as_sc_mcu7t3v3____, (26.22,0.05)))
start_stage.add(gdstk.Reference(c_gf180mcu_as_sc_mcu7t3v3_, (28.46,0.05)))
start_stage.add(gdstk.Reference(c_gf180mcu_as_sc_mcu7t3v3_, (37.42,0.05)))
start_stage.add(gdstk.Reference(c_gf180mcu_as_sc_mcu7t3v3___, (46.38,0.05)))
start_stage.add(gdstk.Reference(c_gf180mcu_as_sc_mcu7t3v3_____, (56.46,0.05)))
start_stage.add(gdstk.Reference(c_gf180mcu_as_sc_mcu7t3v3_, (47.5,0.05)))
start_stage.add(gdstk.Reference(c_gf180mcu_as_sc_mcu7t3v3______, (60.38,0.05)))
start_stage.add(gdstk.Reference(c_gf180mcu_as_sc_mcu7t3v3__, (63.74,0.05), rotation=pi, x_reflection=True))
start_stage.add(gdstk.Reference(c_gf180mcu_as_sc_mcu7t3v3___, (64.86,0.05), rotation=pi, x_reflection=True))
start_stage.add(gdstk.Label('trim1b', (6.52,1.45), layer=42, texttype=0))
start_stage.add(gdstk.Label('d1', (16.182,3.13), layer=42, texttype=0))
start_stage.add(gdstk.Label('d0', (6.49,2.57), layer=42, texttype=0))
start_stage.add(gdstk.Label('d2', (27.77,2.57), layer=42, texttype=0))
start_stage.add(gdstk.Label('ctrl0b', (58.48,2.57), layer=42, texttype=0))
start_stage.add(gdstk.Label('one', (59.202,3.13), layer=42, texttype=0))
start_stage.add(gdstk.Label('vdd', (0.235,3.97), layer=34, texttype=10))
start_stage.add(gdstk.Label('vss', (0.235,0.05), layer=34, texttype=10))
start_stage.add(gdstk.Label('in', (3.765,2.01), layer=42, texttype=10))
start_stage.add(gdstk.Label('trim[0]', (-2.072,0.33), layer=42, texttype=10))
start_stage.add(gdstk.Label('trim[1]', (-2.072,0.89), layer=42, texttype=10))
start_stage.add(gdstk.Label('reset', (64.61,1.45), layer=42, texttype=10))
start_stage.add(gdstk.Label('out', (33.81,2.01), layer=42, texttype=10))

lib.write_gds('start_stage.gds')
